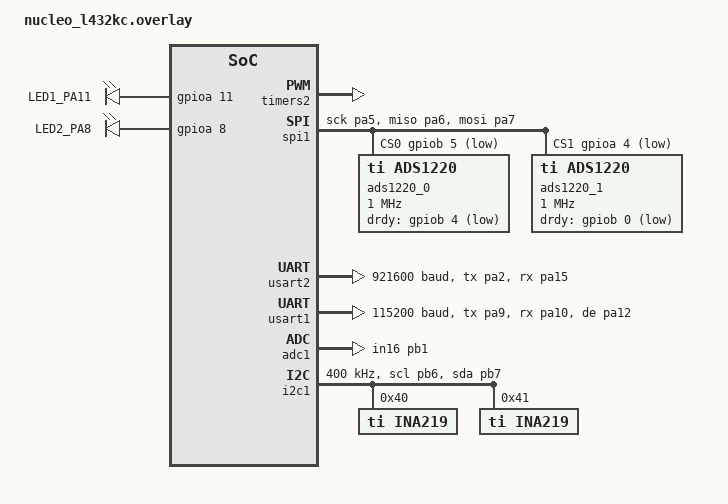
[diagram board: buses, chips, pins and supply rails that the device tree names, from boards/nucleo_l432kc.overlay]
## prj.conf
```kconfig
# Copyright (c) 2021 Nordic Semiconductor ASA
# SPDX-License-Identifier: Apache-2.0
#
# This file contains selected Kconfig options for the application.

#CONFIG_SENSOR=y
#CONFIG_BLINK=y
CONFIG_ADC=y
CONFIG_ADC_STM32=y
CONFIG_ADC_ADS1220=y
CONFIG_SPI=y
CONFIG_GPIO=y
CONFIG_PRINTK=y
CONFIG_LOG=n

#CONFIG_ADC_LOG_LEVEL_DBG=y      
CONFIG_SPI_LOG_LEVEL_OFF=y
CONFIG_KERNEL_LOG_LEVEL_OFF=y

#CONFIG_LOG_BUFFER_SIZE=32768

CONFIG_NEWLIB_LIBC=y
CONFIG_NEWLIB_LIBC_FLOAT_PRINTF=y


CONFIG_SERIAL=y
CONFIG_UART_STM32=y
CONFIG_UART_INTERRUPT_DRIVEN=y

CONFIG_PWM=y
CONFIG_PWM_STM32=y
CONFIG_PINCTRL=y
CONFIG_COUNTER=y
CONFIG_I2C=y
CONFIG_SENSOR=y
CONFIG_INA219=y


CONFIG_SERIAL=y
CONFIG_UART_INTERRUPT_DRIVEN=y
CONFIG_UART_CONSOLE=n
CONFIG_PRINTK=y




CONFIG_SPI=y
CONFIG_I2C=y
CONFIG_ADC=y
CONFIG_PWM=y

CONFIG_SENSOR=y
CONFIG_INA219=y

CONFIG_ADC_ADS1220=y

CONFIG_UART_INTERRUPT_DRIVEN=y
CONFIG_PRINTK=y
CONFIG_STDOUT_CONSOLE=n



CONFIG_MAIN_STACK_SIZE=4096
CONFIG_ISR_STACK_SIZE=2048
CONFIG_SYSTEM_WORKQUEUE_STACK_SIZE=2048
```

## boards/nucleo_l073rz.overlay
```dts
/ {
    aliases {
        button-blue = &user_button;
        led-ukas = &green_led_2;
    };
};
```

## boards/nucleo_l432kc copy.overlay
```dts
#include <zephyr/dt-bindings/gpio/gpio.h>
#include <zephyr/dt-bindings/adc/adc.h>

&timers2 {
    status = "okay";

    pwm2: pwm {
        status = "okay";
        pinctrl-0 = <&tim2_ch2_pa1 &tim2_ch4_pa3>;
        pinctrl-names = "default";
    };
};

&spi1 {
    status = "okay";

    /* Naudojam default board pinctrl */
    pinctrl-0 = </*&spi1_nss_pa4*/ &spi1_sck_pa5
                 &spi1_miso_pa6 &spi1_mosi_pa7>;
    pinctrl-names = "default";

    /* CS per PA4 */
    cs-gpios = <
        &gpioa 8 GPIO_ACTIVE_LOW /*PT1000*/
        &gpioa 11 GPIO_ACTIVE_LOW /*LM35*/
    >;

    /*ADS1220 PT1000*/
    ads1220_0: ads1220@0 {
        compatible = "ti,ads1220";
        reg = <0>;
        spi-max-frequency = <1000000>;

        /* Atskiras DRDY pinas */
        //drdy-gpios = <&gpiob 4 GPIO_ACTIVE_LOW>;
        drdy-gpios = <&gpioa 4 GPIO_ACTIVE_LOW>; //TESTAVIMUIIIIIIIIIIIIIIIIIIIIIIIIIIIIIIIIIIII
        // pga-bypass;
        data-rate = <0>; 
        operating-mode = <0>;

        idac-magnitude-microamp = <250>;
        idac1-routing = <4>;        /* AIN3 */
        idac2-routing = <0>;        /* Disabled */

        #io-channel-cells = <1>;
        #address-cells = <1>;
        #size-cells = <0>;

        channel@0 {
            reg = <0>;

            zephyr,differential;
            zephyr,input-positive = <0>;   /* AIN0 */
            zephyr,input-negative = <1>;   /* AIN1 */

            zephyr,gain = "ADC_GAIN_4";
            zephyr,reference = "ADC_REF_EXTERNAL0";
            zephyr,acquisition-time = <ADC_ACQ_TIME_DEFAULT>;
        };
    };

    /*ADS1220 LM35*/
    ads1220_1: ads1220@1 {
        compatible = "ti,ads1220";
        reg = <1>;
        spi-max-frequency = <1000000>;
        data-rate = <0>; 
        /* Atskiras DRDY pinas */
        //drdy-gpios = <&gpiob 0 GPIO_ACTIVE_LOW>;
        drdy-gpios = <&gpiob 5 GPIO_ACTIVE_LOW>; //TESTAVIMUIIIIIIIIIIIIIIIIIIIIIIIIIIIIIIIIIIII
        pga-bypass;

        #io-channel-cells = <1>;
        #address-cells = <1>;
        #size-cells = <0>;

        channel@0 {
            reg = <0>;
            zephyr,gain = "ADC_GAIN_2";
            zephyr,reference = "ADC_REF_INTERNAL";
            zephyr,acquisition-time = <ADC_ACQ_TIME_DEFAULT>;
        };
    };

};

&usart2 {
    current-speed = <921600>;
    // <&usart2_tx_pa2 &usart2_rx_pa15>;
};

&usart1 {
    status = "okay";
    current-speed = <115200>;

    pinctrl-0 = <
        &usart1_tx_pa9
        &usart1_rx_pa10
        &usart1_de_pa12
    >;

    pinctrl-names = "default";
};


&adc1 {
    status = "okay";
    st,adc-clock-source = "SYNC";
    st,adc-prescaler = <4>;
    pinctrl-0 = <&adc1_in16_pb1>;
    pinctrl-names = "default";
};

&i2c1 {
    pinctrl-0 = <&i2c1_scl_pb6 &i2c1_sda_pb7>;
    pinctrl-names = "default";
    clock-frequency = <I2C_BITRATE_FAST>;
    status = "okay";

    ina219_0: ina219@40 {
        compatible = "ti,ina219";
        reg = <0x40>;              /* default address */
        label = "INA219";

        shunt-milliohm = <100>; /* 0.1 ohm */
        lsb-microamp = <100>;         /* 100 µA LSB */
    };
    
    ina219_1: ina219@41 {
        compatible = "ti,ina219";
        reg = <0x41>;              /* default address */
        label = "INA219";

        shunt-milliohm = <100>; /* 0.1 ohm */
        lsb-microamp = <100>;         /* 100 µA LSB */
    };
};
```

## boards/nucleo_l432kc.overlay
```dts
#include <zephyr/dt-bindings/gpio/gpio.h>
#include <zephyr/dt-bindings/adc/adc.h>

// To change pwm channels change it in main.c  as well as here as well change usart pins

/ {
    leds {
        compatible = "gpio-leds";

        led1: led_1 {
            gpios = <&gpioa 11 GPIO_ACTIVE_HIGH>;
            label = "LED1_PA11";
        };

        led2: led_2 {
            gpios = <&gpioa 8 GPIO_ACTIVE_HIGH>;
            label = "LED2_PA8";
        };
    };
};

&timers2 {
    status = "okay";

    pwm2: pwm {
        status = "okay";
        pinctrl-0 = <&tim2_ch2_pa1 &tim2_ch4_pa3>;
        //real pcb pinctrl-0 = <&tim2_ch2_pa1 &tim2_ch1_pa15>;
        pinctrl-names = "default";
    };
};

&spi1 {
    status = "okay";

    /* Naudojam default board pinctrl */
    pinctrl-0 = </*&spi1_nss_pa4*/ &spi1_sck_pa5
                 &spi1_miso_pa6 &spi1_mosi_pa7>;
    pinctrl-names = "default";

    /* CS per PA4 */
    cs-gpios = <
        &gpiob 5 GPIO_ACTIVE_LOW /*PT1000*/
        &gpioa 4 GPIO_ACTIVE_LOW /*LM35*/
    >;

    /*ADS1220 PT1000*/
    ads1220_0: ads1220@0 {
        compatible = "ti,ads1220";
        reg = <0>;
        spi-max-frequency = <1000000>;

        /* Atskiras DRDY pinas */
        drdy-gpios = <&gpiob 4 GPIO_ACTIVE_LOW>;
        // pga-bypass;
        data-rate = <0>;
        operating-mode = <0>;

        idac-magnitude-microamp = <250>;
        idac1-routing = <4>;        /* AIN3 */
        idac2-routing = <0>;        /* Disabled */

        #io-channel-cells = <1>;
        #address-cells = <1>;
        #size-cells = <0>;

        channel@0 {
            reg = <0>;

            zephyr,differential;
            zephyr,input-positive = <0>;   /* AIN0 */
            zephyr,input-negative = <1>;   /* AIN1 */

            zephyr,gain = "ADC_GAIN_4";
            zephyr,reference = "ADC_REF_EXTERNAL0";
            zephyr,acquisition-time = <ADC_ACQ_TIME_DEFAULT>;
        };
    };

    /*ADS1220 LM35*/
    ads1220_1: ads1220@1 {
        compatible = "ti,ads1220";
        reg = <1>;
        spi-max-frequency = <1000000>;
        data-rate = <0>; 
        /* Atskiras DRDY pinas */
        drdy-gpios = <&gpiob 0 GPIO_ACTIVE_LOW>; 
        pga-bypass;

        #io-channel-cells = <1>;
        #address-cells = <1>;
        #size-cells = <0>;

        channel@0 {
            reg = <0>;
            zephyr,gain = "ADC_GAIN_4";
            zephyr,reference = "ADC_REF_INTERNAL";
            zephyr,acquisition-time = <ADC_ACQ_TIME_DEFAULT>;
        };
    };

};

&usart2 {
    current-speed = <921600>;
    pinctrl-0 = <&usart2_tx_pa2 &usart2_rx_pa15>;
    
    // real pcb pinctrl-0 = <&usart2_tx_pa2 &usart2_rx_pa3>;
};

&usart1 {
    status = "okay";
    current-speed = <115200>;

    pinctrl-0 = <
        &usart1_tx_pa9
        &usart1_rx_pa10
        &usart1_de_pa12
    >;

    de-enable;
    de-assert-time = <1>;
    de-deassert-time = <1>;

    pinctrl-names = "default";
};


&adc1 {
    status = "okay";
    st,adc-clock-source = "SYNC";
    st,adc-prescaler = <4>;
    pinctrl-0 = <&adc1_in16_pb1>;
    pinctrl-names = "default";
};

&i2c1 {
    pinctrl-0 = <&i2c1_scl_pb6 &i2c1_sda_pb7>;
    pinctrl-names = "default";
    clock-frequency = <I2C_BITRATE_FAST>;
    status = "okay";

    ina219_0: ina219@40 {
        compatible = "ti,ina219";
        reg = <0x40>;              /* default address */
        label = "INA219";

        shunt-milliohm = <100>; /* 0.1 ohm */
        lsb-microamp = <100>;         /* 100 µA LSB */
    };

    ina219_1: ina219@41 {
        compatible = "ti,ina219";
        reg = <0x41>;              /* default address */
        label = "INA219";

        shunt-milliohm = <100>; /* 0.1 ohm */
        lsb-microamp = <100>;         /* 100 µA LSB */
    };
};
```

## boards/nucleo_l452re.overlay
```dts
#include <zephyr/dt-bindings/gpio/gpio.h>
#include <zephyr/dt-bindings/adc/adc.h>

&spi1 {
    status = "okay";

    ads1220: ads1220@0 {
        compatible = "ti,ads1220";
        reg = <0>;
        spi-max-frequency = <1000000>;
        drdy-gpios = <&gpiob 5 GPIO_ACTIVE_LOW>;
        #io-channel-cells = <1>;
        #address-cells = <1>;
        #size-cells = <0>;

        channel@0 {
            reg = <0>;
            zephyr,gain = "ADC_GAIN_1";
            zephyr,reference = "ADC_REF_INTERNAL";
            zephyr,acquisition-time = <ADC_ACQ_TIME_DEFAULT>;
        };
    };
};
```

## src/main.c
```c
#include <zephyr/kernel.h>
#include <zephyr/device.h>
#include <zephyr/devicetree.h>
#include <zephyr/drivers/adc.h>
#include <zephyr/drivers/gpio.h>
#include <zephyr/drivers/pwm.h>
#include <zephyr/drivers/sensor.h>
#include <zephyr/drivers/uart.h>
#include <zephyr/spinlock.h>
#include <zephyr/sys/printk.h>

#include <math.h>
#include <stdbool.h>
#include <stdint.h>
#include <stdio.h>
#include <string.h>

/* Hardware */
#define UART_RS485_NODE  DT_NODELABEL(usart1)
#define UART_SERIAL_NODE DT_NODELABEL(usart2)
#define LED1_NODE        DT_NODELABEL(led1)
#define LED2_NODE        DT_NODELABEL(led2)
#define PWM_NODE         DT_NODELABEL(pwm2)

static const struct device *uart_rs485 = DEVICE_DT_GET(UART_RS485_NODE);
static const struct device *uart_serial = DEVICE_DT_GET(UART_SERIAL_NODE);
static const struct gpio_dt_spec led1 = GPIO_DT_SPEC_GET(LED1_NODE, gpios);
static const struct gpio_dt_spec led2 = GPIO_DT_SPEC_GET(LED2_NODE, gpios);
static const struct device *adc_pt1000 = DEVICE_DT_GET(DT_NODELABEL(ads1220_0));
static const struct device *adc_lm35 = DEVICE_DT_GET(DT_NODELABEL(ads1220_1));
static const struct device *adc_stm32 = DEVICE_DT_GET(DT_NODELABEL(adc1));
static const struct device *pwm_dev = DEVICE_DT_GET(PWM_NODE);
static const struct device *ina219_0 = DEVICE_DT_GET(DT_NODELABEL(ina219_0));
static const struct device *ina219_1 = DEVICE_DT_GET(DT_NODELABEL(ina219_1));

/* Constants */
#define ADS1220_FULL_SCALE 8388607.0f
#define ADS1220_VREF_V     2.048f
#define ADS1220_PT_GAIN    4.0f
#define ADS1220_LM35_GAIN  4.0f
#define RREF_OHM           5085.0f
#define PT1000_R0          1000.0f
#define PT_A               3.9083e-3f
#define PT_B              -5.775e-7f
#define LM35_MV_PER_C      10.0f

#define PT1000_OFFSET_C 0.0f
#define LM35_OFFSET_C   0.0f

#define PWM_PERIOD_NS      1000000U
#define PWM_CHANNEL_PT1000 2U
#define PWM_CHANNEL_LM35   4U

#define CONTROL_PERIOD_MS      200
#define TELEMETRY_PERIOD_MS    200
#define RS485_STATUS_PERIOD_MS 1000
#define LED1_BLINK_MS         1000
#define LED2_BLINK_MS         4000
#define MIN_CONTROL_DT_S      0.05f
#define MAX_CONTROL_DT_S      1.0f
#define INTEGRAL_ENABLE_ERROR 5.0f

#define CONTROL_STACK_SIZE   3072
#define TELEMETRY_STACK_SIZE 3072
#define CONTROL_PRIORITY     4
#define TELEMETRY_PRIORITY   7

int ads1220_trigger(const struct device *dev);
int ads1220_fetch(const struct device *dev, int32_t *value);

struct pi_controller {
    float kp;
    float ki;
    float integral;
};

struct temperatures {
    int16_t stm32_raw;
    int32_t pt_raw;
    int32_t lm_raw;
    float stm32_v;
    float pt_c;
    float lm_c;
};

struct status {
    uint32_t seq;
    int64_t time_ms;
    float dt_s;
    float target_pt;
    float target_lm;
    float pwm_pt;
    float pwm_lm;
    struct temperatures temp;
};

struct rs485_tx {
    const uint8_t *buf;
    size_t len;
    size_t pos;
    bool busy;
};

static struct pi_controller pi_pt = {.kp = 300.0f, .ki = 50.0f};
static struct pi_controller pi_lm = {.kp = 60.0f, .ki = 5.0f};
static float target_pt = 25.2f;
static float target_lm = 25.0f;
static struct status last_status;
static struct rs485_tx rs485_tx;
static struct k_spinlock target_lock;
static struct k_spinlock rs485_lock;

K_TIMER_DEFINE(control_timer, NULL, NULL);
K_TIMER_DEFINE(telemetry_timer, NULL, NULL);
K_MUTEX_DEFINE(status_mutex);
K_THREAD_STACK_DEFINE(control_stack, CONTROL_STACK_SIZE);
K_THREAD_STACK_DEFINE(telemetry_stack, TELEMETRY_STACK_SIZE);

static struct k_thread control_thread_data;
static struct k_thread telemetry_thread_data;

static float clampf(float value, float min, float max)
{
    if (value < min) {
        return min;
    }
    if (value > max) {
        return max;
    }
    return value;
}

static float pi_update(struct pi_controller *pi, float target, float measured,
                       float dt_s)
{
    float error = target - measured;
    float output;
    float new_integral = pi->integral;

    if (fabsf(error) < INTEGRAL_ENABLE_ERROR) {
        new_integral += error * dt_s;
        if (pi->ki > 0.0f) {
            float limit = 100.0f / pi->ki;
            new_integral = clampf(new_integral, -limit, limit);
        }
    }

    output = clampf((pi->kp * error) + (pi->ki * new_integral), 0.0f, 100.0f);

    if ((output > 0.0f && output < 100.0f) ||
        (output == 100.0f && error < 0.0f) ||
        (output == 0.0f && error > 0.0f)) {
        pi->integral = new_integral;
    }

    return output;
}

static float control_dt(int64_t now_ms, int64_t *last_ms) //Apskaiciuojamas realus laikas integracijai, o ne fiksuotas 200ms
{
    float dt_s = (float)CONTROL_PERIOD_MS / 1000.0f;

    if (*last_ms != 0) {
        dt_s = (float)(now_ms - *last_ms) / 1000.0f;
        dt_s = clampf(dt_s, MIN_CONTROL_DT_S, MAX_CONTROL_DT_S);
    }

    *last_ms = now_ms;
    return dt_s;
}

static float pt1000_compensate(float t)
{
    return t - ((-0.0052f * t) - 0.2503f);
}

static float lm35_compensate(float t)
{
    return t - ((-0.043f * t) + 0.4421f);
}

static float pt1000_temp_c(int32_t raw)
{
    float r_rtd = (fabsf((float)raw) * RREF_OHM / ADS1220_PT_GAIN) /
                  ADS1220_FULL_SCALE;
    float ratio = r_rtd / PT1000_R0;
    float d = PT_A * PT_A - 4.0f * PT_B * (1.0f - ratio);

    if (d < 0.0f) {
        d = 0.0f;
    }

    return ((-PT_A + sqrtf(d)) / (2.0f * PT_B)) - PT1000_OFFSET_C;
}

static float lm35_temp_c(int32_t raw)
{
    float vin = ((float)raw / ADS1220_FULL_SCALE) *
                (ADS1220_VREF_V / ADS1220_LM35_GAIN);

    return ((vin * 1000.0f) / LM35_MV_PER_C) - LM35_OFFSET_C;
}

static void read_temperatures(struct temperatures *t,
                              struct adc_sequence *stm32_seq)
{
    t->stm32_v = 0.0f;
    if (adc_read(adc_stm32, stm32_seq) == 0) {
        t->stm32_v = ((float)t->stm32_raw * 3.3f) / 4095.0f;
    }

    ads1220_trigger(adc_pt1000);
    ads1220_trigger(adc_lm35);
    ads1220_fetch(adc_pt1000, &t->pt_raw);
    ads1220_fetch(adc_lm35, &t->lm_raw);

    t->pt_c = pt1000_compensate(pt1000_temp_c(t->pt_raw));
    t->lm_c = lm35_compensate(lm35_temp_c(t->lm_raw));
}

static void set_pwm(float pt_percent, float lm_percent)
{
    uint32_t pt_pulse = (uint32_t)((PWM_PERIOD_NS * pt_percent) / 100.0f);
    uint32_t lm_pulse = (uint32_t)((PWM_PERIOD_NS * lm_percent) / 100.0f);

    pwm_set(pwm_dev, PWM_CHANNEL_PT1000, PWM_PERIOD_NS, pt_pulse, 0);
    pwm_set(pwm_dev, PWM_CHANNEL_LM35, PWM_PERIOD_NS, lm_pulse, 0);
}

static void save_status(const struct status *status)
{
    k_mutex_lock(&status_mutex, K_FOREVER);
    last_status = *status;
    k_mutex_unlock(&status_mutex);
}

static struct status get_status(void)
{
    struct status status;

    k_mutex_lock(&status_mutex, K_FOREVER);
    status = last_status;
    k_mutex_unlock(&status_mutex);

    return status;
}

static void get_targets(float *pt, float *lm) //Naudojam spinlock, nes ISR negalim naudot mutex, o ir set_targets gali but iskviestas is ISR, tai reikia apsaugot nuo konkurencijos
{
    k_spinlock_key_t key = k_spin_lock(&target_lock);

    *pt = target_pt;
    *lm = target_lm;

    k_spin_unlock(&target_lock, key);
}

static void set_targets(float pt, float lm)
{
    k_spinlock_key_t key = k_spin_lock(&target_lock);

    target_pt = pt;
    target_lm = lm;

    k_spin_unlock(&target_lock, key);
}

static void serial_send(const char *str)
{
    while (*str != '\0') {
        uart_poll_out(uart_serial, *str++);
    }
}

static bool rs485_is_busy(void)
{
    bool busy;
    k_spinlock_key_t key = k_spin_lock(&rs485_lock);

    busy = rs485_tx.busy;

    k_spin_unlock(&rs485_lock, key);
    return busy;
}

static void rs485_send(const char *text)
{
    bool start_tx = false;
    k_spinlock_key_t key = k_spin_lock(&rs485_lock);

    if (!rs485_tx.busy) {
        rs485_tx.buf = (const uint8_t *)text;
        rs485_tx.len = strlen(text);
        rs485_tx.pos = 0U;
        rs485_tx.busy = true;
        start_tx = true;
    }

    k_spin_unlock(&rs485_lock, key);

    if (start_tx) {
        uart_irq_tx_enable(uart_rs485);
    }
}

static bool parse_setpoints(const char *text)
{
    float pt;
    float lm;

    if (sscanf(text, "%f,%f", &pt, &lm) != 2) {
        return false;
    }

    set_targets(pt, lm);
    printk("NEW SETPOINTS: PT=%.2f LM=%.2f\n", pt, lm);
    return true;
}

static void uart_rx(const struct device *dev)
{
    static char buf[32];
    static size_t pos;
    uint8_t c;

    while (uart_irq_rx_ready(dev) && uart_fifo_read(dev, &c, 1) > 0) {
        if (c == '\n' || c == '\r') {
            buf[pos] = '\0';
            if (pos > 0U && !parse_setpoints(buf)) {
                printk("UART parse error: %s\n", buf);
            }
            pos = 0U;
        } else if (pos < sizeof(buf) - 1U) {
            buf[pos++] = (char)c;
        } else {
            pos = 0U;
        }
    }
}

static void rs485_uart_tx_irq(const struct device *dev)
{
    k_spinlock_key_t key;

    while (uart_irq_tx_ready(dev)) {
        key = k_spin_lock(&rs485_lock);

        if (!rs485_tx.busy) {
            k_spin_unlock(&rs485_lock, key);
            uart_irq_tx_disable(dev);
            return;
        }

        int sent = uart_fifo_fill(dev, &rs485_tx.buf[rs485_tx.pos],
                                  rs485_tx.len - rs485_tx.pos);
        if (sent > 0) {
            rs485_tx.pos += (size_t)sent;
            rs485_tx.busy = rs485_tx.pos < rs485_tx.len;
        }

        k_spin_unlock(&rs485_lock, key);

        if (sent <= 0) {
            return;
        }
    }
}

static void uart_cb(const struct device *dev, void *user_data)
{
    ARG_UNUSED(user_data);

    if (uart_irq_update(dev)) {
        uart_rx(dev);
        rs485_uart_tx_irq(dev);
    }
}

static bool init_devices(void)
{
    if (!device_is_ready(uart_rs485) || !device_is_ready(uart_serial) ||
        !device_is_ready(adc_pt1000) || !device_is_ready(adc_lm35) ||
        !device_is_ready(adc_stm32) || !device_is_ready(pwm_dev)) {
        printk("Required device not ready\n");
        return false;
    }

    if (!gpio_is_ready_dt(&led1) || !gpio_is_ready_dt(&led2)) {
        printk("LED GPIO not ready\n");
        return false;
    }

    gpio_pin_configure_dt(&led1, GPIO_OUTPUT_INACTIVE);
    gpio_pin_configure_dt(&led2, GPIO_OUTPUT_INACTIVE);

    if (!device_is_ready(ina219_0)) {
        printk("INA219_0 not ready, telemetry will show invalid power 0\n");
    }
    if (!device_is_ready(ina219_1)) {
        printk("INA219_1 not ready, telemetry will show invalid power 1\n");
    }

    return true;
}

static bool read_power(const struct device *dev, struct sensor_value *voltage,
                       struct sensor_value *current, struct sensor_value *power)
{
    return device_is_ready(dev) &&
           sensor_sample_fetch(dev) == 0 &&
           sensor_channel_get(dev, SENSOR_CHAN_VOLTAGE, voltage) == 0 &&
           sensor_channel_get(dev, SENSOR_CHAN_CURRENT, current) == 0 &&
           sensor_channel_get(dev, SENSOR_CHAN_POWER, power) == 0;
}

static void log_telemetry(const struct status *s)
{
    char buf[320];
    struct sensor_value v0;
    struct sensor_value c0;
    struct sensor_value p0;
    struct sensor_value v1;
    struct sensor_value c1;
    struct sensor_value p1;
    bool power0_ok = read_power(ina219_0, &v0, &c0, &p0);
    bool power1_ok = read_power(ina219_1, &v1, &c1, &p1);

    snprintf(buf, sizeof(buf),
             "TEL,%lu,%lld,%.3f,%.3f,%.3f,%.2f,%.2f,%.1f,%.1f,%d,%d,%d,%d,%.6f,%.6f,%.6f,%d,%.6f,%.6f,%.6f\r\n",
             (unsigned long)s->seq,
             s->time_ms,
             s->dt_s,
             s->temp.pt_c,
             s->temp.lm_c,
             s->target_pt,
             s->target_lm,
             s->pwm_pt,
             s->pwm_lm,
             s->temp.pt_raw,
             s->temp.lm_raw,
             s->temp.stm32_raw,
             power0_ok ? 1 : 0,
             power0_ok ? sensor_value_to_double(&v0) : NAN,
             power0_ok ? sensor_value_to_double(&c0) : NAN,
             power0_ok ? sensor_value_to_double(&p0) : NAN,
             power1_ok ? 1 : 0,
             power1_ok ? sensor_value_to_double(&v1) : NAN,
             power1_ok ? sensor_value_to_double(&c1) : NAN,
             power1_ok ? sensor_value_to_double(&p1) : NAN);

    serial_send(buf);
}

static void control_thread(void *arg1, void *arg2, void *arg3)
{
    ARG_UNUSED(arg1);
    ARG_UNUSED(arg2);
    ARG_UNUSED(arg3);

    static uint32_t seq;
    int64_t last_ms = 0;
    struct status s = {0};
    struct adc_sequence stm32_seq = {
        .channels = BIT(16),
        .buffer = &s.temp.stm32_raw,
        .buffer_size = sizeof(s.temp.stm32_raw),
        .resolution = 12,
    };

    while (true) {
        k_timer_status_sync(&control_timer);

        s.seq = seq++;
        s.time_ms = k_uptime_get();
        s.dt_s = control_dt(s.time_ms, &last_ms);
        get_targets(&s.target_pt, &s.target_lm);

        read_temperatures(&s.temp, &stm32_seq);
        s.pwm_pt = pi_update(&pi_pt, s.target_pt, s.temp.pt_c, s.dt_s);
        s.pwm_lm = pi_update(&pi_lm, s.target_lm, s.temp.lm_c, s.dt_s);

        set_pwm(s.pwm_pt, s.pwm_lm);
        save_status(&s);
    }
}

static void telemetry_thread(void *arg1, void *arg2, void *arg3)
{
    ARG_UNUSED(arg1);
    ARG_UNUSED(arg2);
    ARG_UNUSED(arg3);

    bool led1_on = false;
    bool led2_on = false;
    int64_t last_led1_ms = 0;
    int64_t last_led2_ms = 0;
    int64_t last_rs485_ms = 0;
    static char rs485_buf[64];

    while (true) {
        int64_t now_ms;
        struct status s;

        k_timer_status_sync(&telemetry_timer);

        now_ms = k_uptime_get();
        s = get_status();
        log_telemetry(&s);

        if ((now_ms - last_led1_ms) >= LED1_BLINK_MS) {
            led1_on = !led1_on;
            gpio_pin_set_dt(&led1, led1_on);
            last_led1_ms = now_ms;
        }

        if ((now_ms - last_led2_ms) >= LED2_BLINK_MS) {
            led2_on = !led2_on;
            gpio_pin_set_dt(&led2, led2_on);
            last_led2_ms = now_ms;
        }

        if (!rs485_is_busy() &&
            (now_ms - last_rs485_ms) >= RS485_STATUS_PERIOD_MS) {
            snprintf(rs485_buf, sizeof(rs485_buf), "SET PT=%.2f LM=%.2f\n",
                     s.target_pt, s.target_lm);
            rs485_send(rs485_buf);
            last_rs485_ms = now_ms;
        }
    }
}

int main(void)
{
    printk("SYSTEM START\n");

    if (!init_devices()) {
        return 0;
    }

    uart_irq_callback_user_data_set(uart_rs485, uart_cb, NULL);
    uart_irq_rx_enable(uart_rs485);

    k_timer_start(&control_timer, K_NO_WAIT, K_MSEC(CONTROL_PERIOD_MS));
    k_timer_start(&telemetry_timer, K_NO_WAIT, K_MSEC(TELEMETRY_PERIOD_MS));

    k_thread_create(&control_thread_data, control_stack,
                    K_THREAD_STACK_SIZEOF(control_stack), control_thread,
                    NULL, NULL, NULL, CONTROL_PRIORITY, 0, K_NO_WAIT);

    k_thread_create(&telemetry_thread_data, telemetry_stack,
                    K_THREAD_STACK_SIZEOF(telemetry_stack), telemetry_thread,
                    NULL, NULL, NULL, TELEMETRY_PRIORITY, 0, K_NO_WAIT);

    k_sleep(K_FOREVER);
    return 0;
}
```
